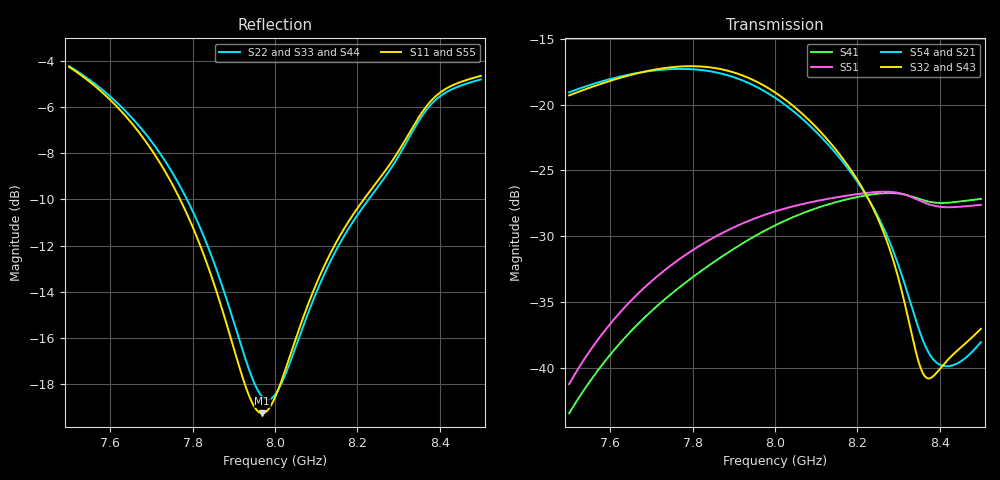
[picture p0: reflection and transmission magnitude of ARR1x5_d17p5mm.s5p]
! Touchstone file exported from HFSS 2025.1.0
!  File:  C:/Users/user/Documents/Ansoft/TFG_UWB-MIMO-Array.aedt
!  Generated:  02:04:21 PM Nov 20, 2026
!  Design:  ARR1x5_US3_PS6_dparam
!  Project:  TFG_UWB-MIMO-Array
!  Setup:  Setup_ch9
!  Solution:  Sweep_7p5_8p5
! Variables:
!  arr_d = 17.5mm
!  board_m = 13mm
!  board_x = 96mm
!  board_y = 26mm
!  cu_t = 0.035mm
!  line_w = 3.92mm
!  pad_xy = 22mm
!  pad_zn = 25mm
!  pad_zp = 33mm
!  par_L = 7.05mm
!  par_W = 11mm
!  par_yc = 0.615mm
!  par_z = 1.035mm
!  patch_L = 6.29mm
!  patch_W = 11.421266mm
!  sub_h = 2.07mm
!  tr_l = 6.6mm
!  tr_w = 0.8mm
!  u_Lu = 2.65mm
!  u_Wu = 4.4mm
!  u_t = 0.8mm
!  u_y0 = -0.7mm
# GHz S MA R 50.000000
! Terminal data exported
! Port[1] = P1
! Port[2] = P2
! Port[3] = P3
! Port[4] = P4
! Port[5] = P5
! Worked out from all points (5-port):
!   1001 points, 7.5 GHz to 8.5 GHz, reference 50 ohm
!   strongest paths, dB at 7.5 GHz, 7.75 GHz, 8 GHz, 8.25 GHz, 8.5 GHz:
!     S32: -19.3, -17.2, -19.1, -28.7, -37.0
!     S43: -19.3, -17.2, -19.1, -28.6, -37.0
!     S54: -19.1, -17.3, -19.5, -28.5, -38.0
!     S21: -19.1, -17.3, -19.5, -28.6, -38.1
!     S51: -41.2, -32.1, -28.1, -26.6, -27.6
!     S41: -43.5, -34.3, -29.2, -26.8, -27.2
!   lowest |S11| = -19.3 dB at 7.969 GHz (marker M1), VSWR 1.24, Z = 61.7 - j3.1 ohm
!   |S11| at or under -10 dB: 7.77 GHz to 8.215 GHz (445.8 MHz wide, 5.58 % of centre)
